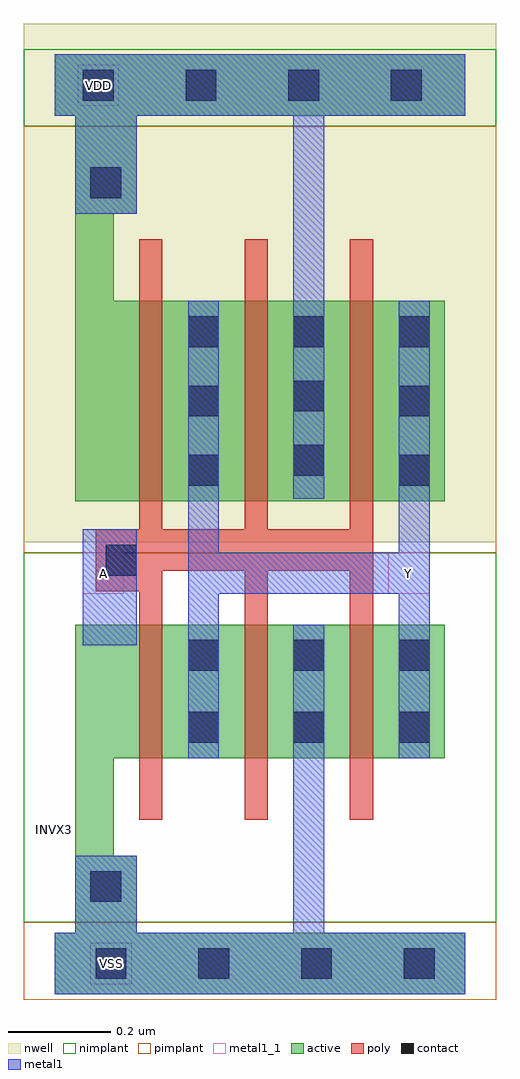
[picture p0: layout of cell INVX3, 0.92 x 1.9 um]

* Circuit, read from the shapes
.subckt INVX3 A VDD VSS Y
M1 Y A VSS VSS nfet w=0.26u l=0.045u m=3
M2 Y A VDD VDD pfet w=0.39u l=0.045u m=3
.ends

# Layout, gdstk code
import gdstk
lib = gdstk.Library(unit=1e-6, precision=5e-10)
def R(c, l, rs):  # rectangles x0, y0, x1, y1
    for r in rs: c.add(gdstk.rectangle(r[:2], r[2:], *l))
def A(c, l, x, y, w, h, nx, ny, dx, dy):  # array of equal rectangles
    R(c, l, [(x+i*dx, y+j*dy, x+i*dx+w, y+j*dy+h) for i in range(nx) for j in range(ny)])
def P(c, l, *ps):  # polygons
    for p in ps: c.add(gdstk.Polygon(p, *l))
active = (1, 0)
nwell = (2, 0)
poly = (3, 0)
nimplant = (4, 0)
pimplant = (5, 0)
contact = (6, 0)
metal1 = (7, 0)
metal1_1 = (7, 1)

invx3 = lib.new_cell('INVX3')
P(invx3, active, [(0.8,0.06),(0.16,0.06),(0.16,0.21),(0.115,0.21),(0.115,0.4),(0.76,0.4),(0.76,0.66),(0.04,0.66),(0.04,0.06),(0,0.06),(0,-0.06),(0.8,-0.06)],
  [(0.8,1.77),(0,1.77),(0,1.65),(0.04,1.65),(0.04,0.9),(0.76,0.9),(0.76,1.29),(0.115,1.29),(0.115,1.46),(0.16,1.46),(0.16,1.65),(0.8,1.65)])
R(invx3, nwell, [(-0.06,0.82,0.86,1.83)])
P(invx3, poly, [(0.165,1.41),(0.21,1.41),(0.21,0.845),(0.37,0.845),(0.37,1.41),(0.415,1.41),(0.415,0.845),(0.575,0.845),(0.575,1.41),(0.62,1.41),(0.62,0.28),(0.575,0.28),(0.575,0.765),(0.415,0.765),(0.415,0.28),(0.37,0.28),(0.37,0.765),(0.21,0.765),(0.21,0.28),(0.165,0.28),(0.165,0.725),(0.08,0.725),(0.08,0.845),(0.165,0.845)])
R(invx3, nimplant, [(-0.06,0.08,0.86,0.8), (-0.06,1.63,0.86,1.78)])
R(invx3, pimplant, [(-0.06,-0.07,0.86,0.08), (-0.06,0.8,0.86,1.63)])
A(invx3, contact, 0.08, -0.03, 0.06, 0.06, 4, 1, 0.2, 0)
A(invx3, contact, 0.26, 0.43, 0.06, 0.06, 3, 2, 0.205, 0.14)
A(invx3, contact, 0.26, 1.2, 0.06, 0.06, 3, 1, 0.205, 0)
A(invx3, contact, 0.055, 1.68, 0.06, 0.06, 4, 1, 0.2, 0)
R(invx3, contact, [(0.07,0.12,0.13,0.18), (0.1,0.755,0.16,0.815), (0.26,0.93,0.32,0.99), (0.67,0.93,0.73,0.99), (0.465,0.95,0.525,1.01), (0.26,1.065,0.32,1.125), (0.67,1.065,0.73,1.125), (0.465,1.075,0.525,1.135), (0.07,1.49,0.13,1.55)])
R(invx3, metal1, [(0.055,0.62,0.16,0.845)])
P(invx3, metal1, [(0.04,0.21),(0.16,0.21),(0.16,0.06),(0.465,0.06),(0.465,0.66),(0.525,0.66),(0.525,0.06),(0.8,0.06),(0.8,-0.06),(0,-0.06),(0,0.06),(0.04,0.06)],
  [(0.8,1.77),(0,1.77),(0,1.65),(0.04,1.65),(0.04,1.46),(0.16,1.46),(0.16,1.65),(0.465,1.65),(0.465,0.905),(0.525,0.905),(0.525,1.65),(0.8,1.65)],
  [(0.73,1.29),(0.67,1.29),(0.67,0.8),(0.32,0.8),(0.32,1.29),(0.26,1.29),(0.26,0.4),(0.32,0.4),(0.32,0.72),(0.67,0.72),(0.67,0.4),(0.73,0.4)])
R(invx3, metal1_1, [(0.07,-0.04,0.15,0.04), (0.055,0.72,0.135,0.8), (0.65,0.72,0.73,0.8), (0.045,1.67,0.125,1.75)])
invx3.add(gdstk.Label('Y', (0.69,0.76), layer=7, texttype=1))
invx3.add(gdstk.Label('A', (0.095,0.76), layer=7, texttype=1))
invx3.add(gdstk.Label('VDD', (0.085,1.71), layer=7, texttype=1))
invx3.add(gdstk.Label('VSS', (0.11,0), layer=7, texttype=1))
invx3.add(gdstk.Label('INVX3', (0,0.26), layer=63, texttype=0))

lib.write_gds('INVX3.gds')
